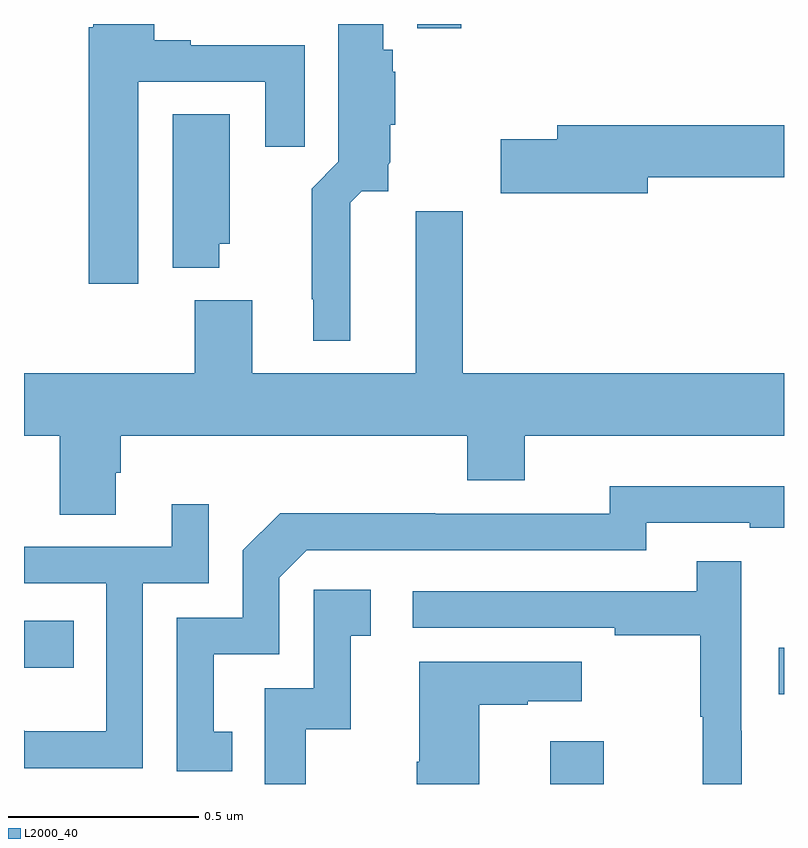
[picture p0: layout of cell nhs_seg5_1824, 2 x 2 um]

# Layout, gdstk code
import gdstk
lib = gdstk.Library(unit=1e-6, precision=1e-09)
def R(c, l, rs):  # rectangles x0, y0, x1, y1
    for r in rs: c.add(gdstk.rectangle(r[:2], r[2:], *l))
def P(c, l, *ps):  # polygons
    for p in ps: c.add(gdstk.Polygon(p, *l))
L2000_40 = (2000, 40)

nhs_seg5_1824 = lib.new_cell('nhs_seg5_1824')
R(nhs_seg5_1824, L2000_40, [(136.385,899.799,136.525,899.911), (136.986,900.035,137,900.157), (135,900.105,135.131,900.228), (136.035,901.788,136.151,901.799)])
P(nhs_seg5_1824, L2000_40, [(135.859,901.328),(135.889,901.359),(135.958,901.359),(135.958,901.429),(135.964,901.435),(135.964,901.534),(135.977,901.534),(135.977,901.674),(135.971,901.674),(135.971,901.731),(135.946,901.731),(135.946,901.799),(135.827,901.799),(135.827,901.436),(135.757,901.366),(135.757,901.075),(135.761,901.075),(135.761,900.965),(135.859,900.965)],
  [(135.301,901.647),(135.635,901.647),(135.635,901.476),(135.739,901.476),(135.739,901.743),(135.439,901.743),(135.439,901.756),(135.343,901.756),(135.343,901.799),(135.182,901.799),(135.182,901.79),(135.17,901.79),(135.17,901.116),(135.301,901.116)],
  [(135.514,901.221),(135.541,901.221),(135.541,901.562),(135.392,901.562),(135.392,901.157),(135.514,901.157)],
  [(136.642,901.396),(137,901.396),(137,901.532),(136.403,901.532),(136.403,901.496),(136.254,901.496),(136.254,901.354),(136.642,901.354)],
  [(135.241,900.618),(135.254,900.618),(135.254,900.716),(136.166,900.716),(136.166,900.599),(136.318,900.599),(136.318,900.716),(137,900.716),(137,900.88),(136.154,900.88),(136.154,901.306),(136.031,901.306),(136.031,900.88),(135.601,900.88),(135.601,901.072),(135.449,901.072),(135.449,900.88),(135,900.88),(135,900.716),(135.094,900.716),(135.094,900.508),(135.241,900.508)],
  [(135.548,899.937),(135.499,899.937),(135.499,900.141),(135.672,900.141),(135.672,900.342),(135.744,900.414),(136.638,900.414),(136.638,900.486),(136.91,900.486),(136.91,900.474),(137,900.474),(137,900.582),(136.91,900.582),(136.91,900.583),(136.542,900.583),(136.542,900.51),(136.082,900.51),(136.082,900.512),(135.674,900.512),(135.576,900.414),(135.576,900.237),(135.402,900.237),(135.402,899.832),(135.548,899.832)],
  [(135.312,900.327),(135.486,900.327),(135.486,900.535),(135.389,900.535),(135.389,900.423),(135,900.423),(135,900.327),(135.216,900.327),(135.216,899.938),(135.002,899.938),(135,899.94),(135,899.841),(135.312,899.841)],
  [(136.889,899.939),(136.887,899.939),(136.887,900.385),(136.771,900.385),(136.771,900.306),(136.023,900.306),(136.023,900.21),(136.555,900.21),(136.555,900.19),(136.779,900.19),(136.779,899.976),(136.786,899.976),(136.786,899.799),(136.889,899.799)],
  [(135.742,899.943),(135.86,899.943),(135.86,900.189),(135.913,900.189),(135.913,900.31),(135.762,900.31),(135.762,900.051),(135.633,900.051),(135.633,899.799),(135.742,899.799)],
  [(136.198,900.007),(136.325,900.007),(136.325,900.017),(136.468,900.017),(136.468,900.121),(136.04,900.121),(136.04,899.857),(136.033,899.857),(136.033,899.799),(136.198,899.799)])

lib.write_gds('nhs_seg5_1824.gds')
